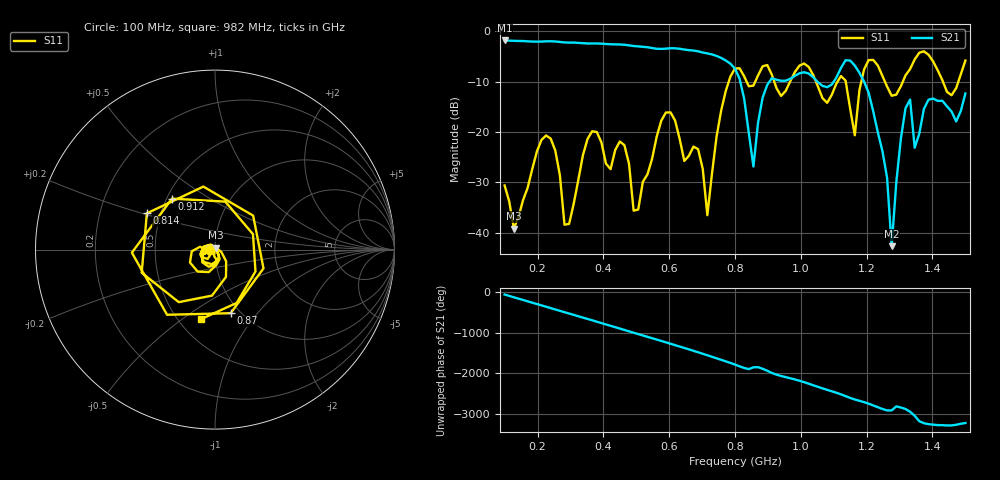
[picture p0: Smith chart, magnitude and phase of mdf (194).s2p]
! NanoVNA-App
! Date: 2025-09-26 09:41:15
! Start: 100MHz Stop: 1,5GHz Points: 101
! S-Parameter data: F S11 S21 S12 S22
# Hz S RI R 50
!  Frequency  S11_Real  S11_Imag  S21_Real  S21_Imag  S12_Real  S12_Imag  S22_Real  S22_Imag
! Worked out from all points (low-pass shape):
!   101 points, 100 MHz to 1.5 GHz, reference 50 ohm
!   highest |S21| = -1.79 dB at 100 MHz (marker M1); lowest = -42.7 dB at 1.276 GHz (marker M2)
!   |S21| within 3 dB of the highest: start of sweep to 740.4 MHz
!   lowest |S11| = -39.2 dB at 128 MHz (marker M3), VSWR 1.02, Z = 50.3 + j1.07 ohm
!   |S11| at or under -10 dB: start of sweep to 781 MHz; 1.046 GHz to 1.111 GHz (65.34 MHz wide, 6.06 % of centre); 1.256 GHz to 1.31 GHz (54.13 MHz wide, 4.22 % of centre)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
!   S12 and S22 are empty: the file has one direction only
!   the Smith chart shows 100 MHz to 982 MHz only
!   S11 on the Smith chart (normalised r, x): 100 MHz: 0.94, -0.01; 814 MHz: 0.42, +0.21; 870 MHz: 0.90, -0.74; 912 MHz: 0.53, +0.35; 982 MHz: 0.64, -0.59
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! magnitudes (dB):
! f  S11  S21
! 100 MHz  -30.6  -1.8
! 128 MHz  -39.2  -1.9
! 212 MHz  -21.6  -2.0
! 282 MHz  -38.4  -2.2
! 338 MHz  -24.6  -2.3
! 464 MHz  -22.6  -2.6
! 506 MHz  -35.4  -3.0
! 576 MHz  -17.7  -3.5
! 688 MHz  -23.4  -3.9
! 716 MHz  -36.5  -4.4
! 800 MHz  -7.4  -7.4
! 814 MHz  -7.3  -9.4
! 856 MHz  -10.8  -26.9
! 870 MHz  -8.8  -18.2
! 912 MHz  -8.6  -9.3
! 982 MHz  -8.1  -8.8
! 1.038 GHz  -8.7  -9.1
! 1.164 GHz  -20.6  -6.8
! 1.192 GHz  -7.6  -9.9
! 1.276 GHz  -12.8  -42.7
! 1.318 GHz  -8.7  -15.3
! 1.5 GHz  -5.8  -12.3
